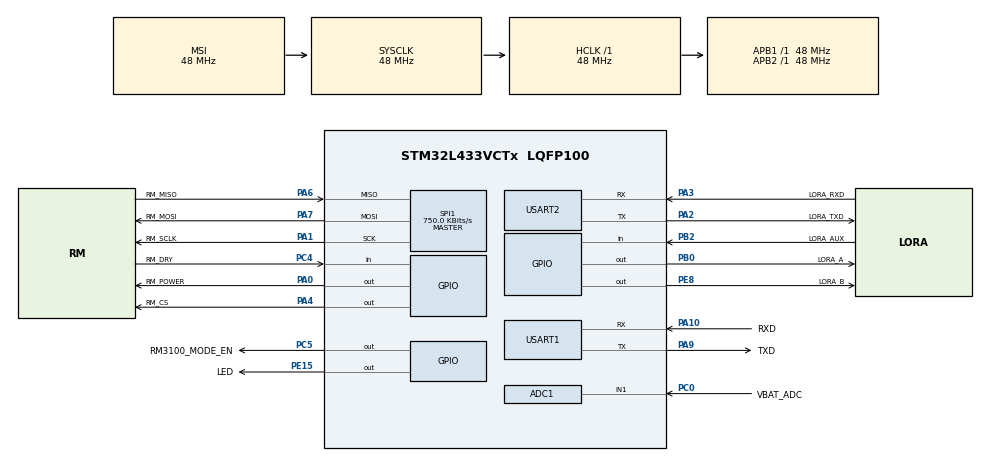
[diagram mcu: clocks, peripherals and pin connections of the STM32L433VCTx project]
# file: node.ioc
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ADC1.Channel-0\#ChannelRegularConversion=ADC_CHANNEL_1
ADC1.ClockPrescaler=ADC_CLOCK_ASYNC_DIV16
ADC1.NbrOfConversionFlag=1
ADC1.OffsetNumber-0\#ChannelRegularConversion=ADC_OFFSET_NONE
ADC1.Rank-0\#ChannelRegularConversion=1
ADC1.SamplingTime-0\#ChannelRegularConversion=ADC_SAMPLETIME_2CYCLES_5
ADC1.master=1
Dma.Request0=USART2_RX
Dma.Request1=USART1_RX
Dma.USART1_RX.1.Direction=DMA_PERIPH_TO_MEMORY
Dma.USART1_RX.1.Instance=DMA1_Channel5
Dma.USART1_RX.1.MemDataAlignment=DMA_MDATAALIGN_BYTE
Dma.USART1_RX.1.MemInc=DMA_MINC_ENABLE
Dma.USART1_RX.1.Mode=DMA_NORMAL
Dma.USART1_RX.1.PeriphDataAlignment=DMA_PDATAALIGN_BYTE
Dma.USART1_RX.1.PeriphInc=DMA_PINC_DISABLE
Dma.USART1_RX.1.Priority=DMA_PRIORITY_LOW
Dma.USART2_RX.0.Direction=DMA_PERIPH_TO_MEMORY
Dma.USART2_RX.0.Instance=DMA1_Channel6
Dma.USART2_RX.0.MemDataAlignment=DMA_MDATAALIGN_BYTE
Dma.USART2_RX.0.MemInc=DMA_MINC_ENABLE
Dma.USART2_RX.0.Mode=DMA_NORMAL
Dma.USART2_RX.0.PeriphDataAlignment=DMA_PDATAALIGN_BYTE
Dma.USART2_RX.0.PeriphInc=DMA_PINC_DISABLE
Dma.USART2_RX.0.Priority=DMA_PRIORITY_LOW
Mcu.Family=STM32L4
Mcu.Name=STM32L433VCTx
Mcu.Package=LQFP100
NVIC.DMA1_Channel5_IRQn=true\:0\:0\:false\:false\:true\:false\:true
NVIC.DMA1_Channel6_IRQn=true\:0\:0\:false\:false\:true\:false\:true
NVIC.PriorityGroup=NVIC_PRIORITYGROUP_4
NVIC.USART1_IRQn=true\:0\:0\:false\:false\:true\:true\:true
NVIC.USART2_IRQn=true\:0\:0\:false\:false\:true\:true\:true
PA0.GPIO_Label=RM_POWER
PA0.Signal=GPIO_Output
PA1.GPIO_Label=RM_SCLK
PA1.Mode=Full_Duplex_Master
PA1.Signal=SPI1_SCK
PA10.GPIO_Label=RXD
PA10.Mode=Asynchronous
PA10.Signal=USART1_RX
PA13\ (JTMS-SWDIO).Mode=Serial_Wire
PA13\ (JTMS-SWDIO).Signal=SYS_JTMS-SWDIO
PA14\ (JTCK-SWCLK).Mode=Serial_Wire
PA14\ (JTCK-SWCLK).Signal=SYS_JTCK-SWCLK
PA2.GPIO_Label=LORA_TXD
PA2.Mode=Asynchronous
PA2.Signal=USART2_TX
PA3.GPIO_Label=LORA_RXD
PA3.Mode=Asynchronous
PA3.Signal=USART2_RX
PA4.GPIO_Label=RM_CS
PA4.Signal=GPIO_Output
PA6.GPIO_Label=RM_MISO
PA6.Mode=Full_Duplex_Master
PA6.Signal=SPI1_MISO
PA7.GPIO_Label=RM_MOSI
PA7.Mode=Full_Duplex_Master
PA7.Signal=SPI1_MOSI
PA9.GPIO_Label=TXD
PA9.Mode=Asynchronous
PA9.Signal=USART1_TX
PB0.GPIO_Label=LORA_A
PB0.Signal=GPIO_Output
PB2.GPIO_Label=LORA_AUX
PB2.Signal=GPIO_Input
PC0.GPIO_Label=VBAT_ADC
PC0.Signal=ADCx_IN1
PC4.GPIO_Label=RM_DRY
PC4.Signal=GPIO_Input
PC5.GPIO_Label=RM3100_MODE_EN
PC5.Signal=GPIO_Output
PE15.GPIO_Label=LED
PE15.Signal=GPIO_Output
PE8.GPIO_Label=LORA_B
PE8.Signal=GPIO_Output
ProjectManager.HeapSize=0x200
ProjectManager.StackSize=0x400
ProjectManager.TargetToolchain=MDK-ARM V5
RCC.ADCFreq_Value=64000000
RCC.AHBFreq_Value=48000000
RCC.APB1Freq_Value=48000000
RCC.APB1TimFreq_Value=48000000
RCC.APB2Freq_Value=48000000
RCC.APB2TimFreq_Value=48000000
RCC.CortexFreq_Value=48000000
RCC.HCLKFreq_Value=48000000
RCC.HSE_VALUE=8000000
RCC.HSI48_VALUE=48000000
RCC.HSI_VALUE=16000000
RCC.LSE_VALUE=32768
RCC.MSIClockRange=RCC_MSIRANGE_11
RCC.MSI_VALUE=48000000
RCC.PLLM=3
RCC.SYSCLKFreq_VALUE=48000000
RCC.USBFreq_Value=64000000
RCC.VCOOutputFreq_Value=128000000
SH.ADCx_IN1.0=ADC1_IN1,IN1-Single-Ended
SPI1.BaudRatePrescaler=SPI_BAUDRATEPRESCALER_64
SPI1.CalculateBaudRate=750.0 KBits/s
SPI1.DataSize=SPI_DATASIZE_8BIT
SPI1.Direction=SPI_DIRECTION_2LINES
SPI1.Mode=SPI_MODE_MASTER
SPI1.VirtualType=VM_MASTER
USART1.VirtualMode-Asynchronous=VM_ASYNC
USART2.VirtualMode-Asynchronous=VM_ASYNC
board=custom

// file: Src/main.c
/* USER CODE BEGIN Header */
/**
  ******************************************************************************
  * @file           : main.c
  * @brief          : Main program body
  ******************************************************************************
  ** This notice applies to any and all portions of this file
  * that are not between comment pairs USER CODE BEGIN and
  * USER CODE END. Other portions of this file, whether
  * inserted by the user or by software development tools
  * are owned by their respective copyright owners.
  *
  * COPYRIGHT(c) 2019 STMicroelectronics
  *
  * Redistribution and use in source and binary forms, with or without modification,
  * are permitted provided that the following conditions are met:
  *   1. Redistributions of source code must retain the above copyright notice,
  *      this list of conditions and the following disclaimer.
  *   2. Redistributions in binary form must reproduce the above copyright notice,
  *      this list of conditions and the following disclaimer in the documentation
  *      and/or other materials provided with the distribution.
  *   3. Neither the name of STMicroelectronics nor the names of its contributors
  *      may be used to endorse or promote products derived from this software
  *      without specific prior written permission.
  *
  * THIS SOFTWARE IS PROVIDED BY THE COPYRIGHT HOLDERS AND CONTRIBUTORS "AS IS"
  * AND ANY EXPRESS OR IMPLIED WARRANTIES, INCLUDING, BUT NOT LIMITED TO, THE
  * IMPLIED WARRANTIES OF MERCHANTABILITY AND FITNESS FOR A PARTICULAR PURPOSE ARE
  * DISCLAIMED. IN NO EVENT SHALL THE COPYRIGHT HOLDER OR CONTRIBUTORS BE LIABLE
  * FOR ANY DIRECT, INDIRECT, INCIDENTAL, SPECIAL, EXEMPLARY, OR CONSEQUENTIAL
  * DAMAGES (INCLUDING, BUT NOT LIMITED TO, PROCUREMENT OF SUBSTITUTE GOODS OR
  * SERVICES; LOSS OF USE, DATA, OR PROFITS; OR BUSINESS INTERRUPTION) HOWEVER
  * CAUSED AND ON ANY THEORY OF LIABILITY, WHETHER IN CONTRACT, STRICT LIABILITY,
  * OR TORT (INCLUDING NEGLIGENCE OR OTHERWISE) ARISING IN ANY WAY OUT OF THE USE
  * OF THIS SOFTWARE, EVEN IF ADVISED OF THE POSSIBILITY OF SUCH DAMAGE.
  *
  ******************************************************************************
  */
/* USER CODE END Header */

#include "main.h"

/* USER CODE BEGIN Includes */
#include "bsp.h"
#include "sensor.h"
#include "mag3D3100.h"
#include "stdio.h"
/* USER CODE END Includes */

ADC_HandleTypeDef hadc1;

SPI_HandleTypeDef hspi1;

UART_HandleTypeDef huart1;
UART_HandleTypeDef huart2;
DMA_HandleTypeDef hdma_usart1_rx;
DMA_HandleTypeDef hdma_usart2_rx;

/* USER CODE BEGIN PV */
#pragma import(__use_no_semihosting)
void _sys_exit(int x)
{
x = x;
}
struct __FILE
{
int handle;
};
FILE __stdout;
UART_HandleTypeDef huart1;
int fputc(int ch, FILE *f)
{
				//发送数据到串口
	unsigned char tmp;
	tmp =(unsigned char )ch;
 HAL_UART_Transmit(&huart1, &tmp, 1, 1);
	return ch;
}
/* USER CODE END PV */

void SystemClock_Config(void);
static void MX_GPIO_Init(void);
static void MX_DMA_Init(void);
static void MX_SPI1_Init(void);
static void MX_USART2_UART_Init(void);
static void MX_USART1_UART_Init(void);
static void MX_ADC1_Init(void);

/* USER CODE BEGIN 0 */
MagData_t dataMd;
/* USER CODE END 0 */

int main(void)
{

  /* MCU Configuration--------------------------------------------------------*/

  /* Reset of all peripherals, Initializes the Flash interface and the Systick. */
  HAL_Init();

  /* Configure the system clock */
  SystemClock_Config();

  /* Initialize all configured peripherals */
	Hardware_Init();
  MX_GPIO_Init();
  MX_DMA_Init();
  MX_SPI1_Init();
  MX_USART2_UART_Init();
  MX_USART1_UART_Init();
  MX_ADC1_Init();
  /* USER CODE BEGIN 2 */
	// Hardware_Init();
		HAL_GPIO_WritePin(I2C_MODE_GPIO_Port, I2C_MODE_Pin, GPIO_PIN_RESET);
  ThreeD3100_magic_init();
 // ;
  /* USER CODE END 2 */

  /* Infinite loop */
  while (1)
  {

    /* USER CODE BEGIN 3 */
	led_ctrl(BLINK);
	HAL_Delay(1000);
	// sensor_process();

		ThreeD3100_magic_GetData(&dataMd);
  }
  /* USER CODE END 3 */
}

void SystemClock_Config(void)
{
  RCC_OscInitTypeDef RCC_OscInitStruct = {0};
  RCC_ClkInitTypeDef RCC_ClkInitStruct = {0};
  RCC_PeriphCLKInitTypeDef PeriphClkInit = {0};

  /** Initializes the CPU, AHB and APB busses clocks
  */
  RCC_OscInitStruct.OscillatorType = RCC_OSCILLATORTYPE_MSI;
  RCC_OscInitStruct.MSIState = RCC_MSI_ON;
  RCC_OscInitStruct.MSICalibrationValue = 0;
  RCC_OscInitStruct.MSIClockRange = RCC_MSIRANGE_11;
  RCC_OscInitStruct.PLL.PLLState = RCC_PLL_NONE;
  if (HAL_RCC_OscConfig(&RCC_OscInitStruct) != HAL_OK)
  {
    Error_Handler();
  }
  /** Initializes the CPU, AHB and APB busses clocks
  */
  RCC_ClkInitStruct.ClockType = RCC_CLOCKTYPE_HCLK|RCC_CLOCKTYPE_SYSCLK
                              |RCC_CLOCKTYPE_PCLK1|RCC_CLOCKTYPE_PCLK2;
  RCC_ClkInitStruct.SYSCLKSource = RCC_SYSCLKSOURCE_MSI;
  RCC_ClkInitStruct.AHBCLKDivider = RCC_SYSCLK_DIV1;
  RCC_ClkInitStruct.APB1CLKDivider = RCC_HCLK_DIV1;
  RCC_ClkInitStruct.APB2CLKDivider = RCC_HCLK_DIV1;

  if (HAL_RCC_ClockConfig(&RCC_ClkInitStruct, FLASH_LATENCY_2) != HAL_OK)
  {
    Error_Handler();
  }
  PeriphClkInit.PeriphClockSelection = RCC_PERIPHCLK_USART1|RCC_PERIPHCLK_USART2
                              |RCC_PERIPHCLK_ADC;
  PeriphClkInit.Usart1ClockSelection = RCC_USART1CLKSOURCE_PCLK2;
  PeriphClkInit.Usart2ClockSelection = RCC_USART2CLKSOURCE_PCLK1;
  PeriphClkInit.AdcClockSelection = RCC_ADCCLKSOURCE_PLLSAI1;
  PeriphClkInit.PLLSAI1.PLLSAI1Source = RCC_PLLSOURCE_MSI;
  PeriphClkInit.PLLSAI1.PLLSAI1M = 3;
  PeriphClkInit.PLLSAI1.PLLSAI1N = 8;
  PeriphClkInit.PLLSAI1.PLLSAI1P = RCC_PLLP_DIV7;
  PeriphClkInit.PLLSAI1.PLLSAI1Q = RCC_PLLQ_DIV2;
  PeriphClkInit.PLLSAI1.PLLSAI1R = RCC_PLLR_DIV2;
  PeriphClkInit.PLLSAI1.PLLSAI1ClockOut = RCC_PLLSAI1_ADC1CLK;
  if (HAL_RCCEx_PeriphCLKConfig(&PeriphClkInit) != HAL_OK)
  {
    Error_Handler();
  }
  /** Configure the main internal regulator output voltage
  */
  if (HAL_PWREx_ControlVoltageScaling(PWR_REGULATOR_VOLTAGE_SCALE1) != HAL_OK)
  {
    Error_Handler();
  }
}

static void MX_ADC1_Init(void)
{

  ADC_ChannelConfTypeDef sConfig = {0};

  /** Common config
  */
  hadc1.Instance = ADC1;
  hadc1.Init.ClockPrescaler = ADC_CLOCK_ASYNC_DIV16;
  hadc1.Init.Resolution = ADC_RESOLUTION_12B;
  hadc1.Init.DataAlign = ADC_DATAALIGN_RIGHT;
  hadc1.Init.ScanConvMode = ADC_SCAN_DISABLE;
  hadc1.Init.EOCSelection = ADC_EOC_SINGLE_CONV;
  hadc1.Init.LowPowerAutoWait = DISABLE;
  hadc1.Init.ContinuousConvMode = DISABLE;
  hadc1.Init.NbrOfConversion = 1;
  hadc1.Init.DiscontinuousConvMode = DISABLE;
  hadc1.Init.ExternalTrigConv = ADC_SOFTWARE_START;
  hadc1.Init.ExternalTrigConvEdge = ADC_EXTERNALTRIGCONVEDGE_NONE;
  hadc1.Init.DMAContinuousRequests = DISABLE;
  hadc1.Init.Overrun = ADC_OVR_DATA_PRESERVED;
  hadc1.Init.OversamplingMode = DISABLE;
  if (HAL_ADC_Init(&hadc1) != HAL_OK)
  {
    Error_Handler();
  }
  /** Configure Regular Channel
  */
  sConfig.Channel = ADC_CHANNEL_1;
  sConfig.Rank = ADC_REGULAR_RANK_1;
  sConfig.SamplingTime = ADC_SAMPLETIME_2CYCLES_5;
  sConfig.SingleDiff = ADC_SINGLE_ENDED;
  sConfig.OffsetNumber = ADC_OFFSET_NONE;
  sConfig.Offset = 0;
  if (HAL_ADC_ConfigChannel(&hadc1, &sConfig) != HAL_OK)
  {
    Error_Handler();
  }

}

static void MX_SPI1_Init(void)
{

  /* SPI1 parameter configuration*/
  hspi1.Instance = SPI1;
  hspi1.Init.Mode = SPI_MODE_MASTER;
  hspi1.Init.Direction = SPI_DIRECTION_2LINES;
  hspi1.Init.DataSize = SPI_DATASIZE_8BIT;
  hspi1.Init.CLKPolarity = SPI_POLARITY_HIGH;
  hspi1.Init.CLKPhase = SPI_PHASE_2EDGE;
  hspi1.Init.NSS = SPI_NSS_SOFT;
  hspi1.Init.BaudRatePrescaler = SPI_BAUDRATEPRESCALER_256;
  hspi1.Init.FirstBit = SPI_FIRSTBIT_MSB;
  hspi1.Init.TIMode = SPI_TIMODE_DISABLE;
  hspi1.Init.CRCCalculation = SPI_CRCCALCULATION_DISABLE;
  hspi1.Init.CRCPolynomial = 7;
  hspi1.Init.CRCLength = SPI_CRC_LENGTH_DATASIZE;
  hspi1.Init.NSSPMode = SPI_NSS_PULSE_ENABLE;
  if (HAL_SPI_Init(&hspi1) != HAL_OK)
  {
    Error_Handler();
  }

}

static void MX_USART1_UART_Init(void)
{

  huart1.Instance = USART1;
  huart1.Init.BaudRate = 115200;
  huart1.Init.WordLength = UART_WORDLENGTH_8B;
  huart1.Init.StopBits = UART_STOPBITS_1;
  huart1.Init.Parity = UART_PARITY_NONE;
  huart1.Init.Mode = UART_MODE_TX_RX;
  huart1.Init.HwFlowCtl = UART_HWCONTROL_NONE;
  huart1.Init.OverSampling = UART_OVERSAMPLING_16;
  huart1.Init.OneBitSampling = UART_ONE_BIT_SAMPLE_DISABLE;
  huart1.AdvancedInit.AdvFeatureInit = UART_ADVFEATURE_NO_INIT;
  if (HAL_UART_Init(&huart1) != HAL_OK)
  {
    Error_Handler();
  }

}

static void MX_USART2_UART_Init(void)
{

  huart2.Instance = USART2;
  huart2.Init.BaudRate = 115200;
  huart2.Init.WordLength = UART_WORDLENGTH_8B;
  huart2.Init.StopBits = UART_STOPBITS_1;
  huart2.Init.Parity = UART_PARITY_NONE;
  huart2.Init.Mode = UART_MODE_TX_RX;
  huart2.Init.HwFlowCtl = UART_HWCONTROL_NONE;
  huart2.Init.OverSampling = UART_OVERSAMPLING_16;
  huart2.Init.OneBitSampling = UART_ONE_BIT_SAMPLE_DISABLE;
  huart2.AdvancedInit.AdvFeatureInit = UART_ADVFEATURE_NO_INIT;
  if (HAL_UART_Init(&huart2) != HAL_OK)
  {
    Error_Handler();
  }

}

static void MX_DMA_Init(void)
{

  /* DMA controller clock enable */
  __HAL_RCC_DMA1_CLK_ENABLE();

  /* DMA interrupt init */
  /* DMA1_Channel5_IRQn interrupt configuration */
  HAL_NVIC_SetPriority(DMA1_Channel5_IRQn, 0, 0);
  HAL_NVIC_EnableIRQ(DMA1_Channel5_IRQn);
  /* DMA1_Channel6_IRQn interrupt configuration */
  HAL_NVIC_SetPriority(DMA1_Channel6_IRQn, 0, 0);
  HAL_NVIC_EnableIRQ(DMA1_Channel6_IRQn);

}

static void MX_GPIO_Init(void)
{
  GPIO_InitTypeDef GPIO_InitStruct = {0};

  /* GPIO Ports Clock Enable */
  __HAL_RCC_GPIOC_CLK_ENABLE();
  __HAL_RCC_GPIOA_CLK_ENABLE();
  __HAL_RCC_GPIOB_CLK_ENABLE();
  __HAL_RCC_GPIOE_CLK_ENABLE();

  /*Configure GPIO pin Output Level */
  HAL_GPIO_WritePin(GPIOA, RM_POWER_Pin|RM_CS_Pin, GPIO_PIN_RESET);

  /*Configure GPIO pin Output Level */
  HAL_GPIO_WritePin(RM3100_MODE_EN_GPIO_Port, RM3100_MODE_EN_Pin, GPIO_PIN_RESET);

  /*Configure GPIO pin Output Level */
  HAL_GPIO_WritePin(LORA_A_GPIO_Port, LORA_A_Pin, GPIO_PIN_RESET);

  /*Configure GPIO pin Output Level */
  HAL_GPIO_WritePin(GPIOE, LORA_B_Pin|LED_Pin, GPIO_PIN_RESET);

  /*Configure GPIO pins : RM_POWER_Pin RM_CS_Pin */
  GPIO_InitStruct.Pin = RM_POWER_Pin|RM_CS_Pin;
  GPIO_InitStruct.Mode = GPIO_MODE_OUTPUT_PP;
  GPIO_InitStruct.Pull = GPIO_NOPULL;
  GPIO_InitStruct.Speed = GPIO_SPEED_FREQ_LOW;
  HAL_GPIO_Init(GPIOA, &GPIO_InitStruct);

  /*Configure GPIO pin : RM_DRY_Pin */
  GPIO_InitStruct.Pin = RM_DRY_Pin;
  GPIO_InitStruct.Mode = GPIO_MODE_INPUT;
  GPIO_InitStruct.Pull = GPIO_PULLUP;
  HAL_GPIO_Init(RM_DRY_GPIO_Port, &GPIO_InitStruct);

  /*Configure GPIO pin : RM3100_MODE_EN_Pin */
  GPIO_InitStruct.Pin = RM3100_MODE_EN_Pin;
  GPIO_InitStruct.Mode = GPIO_MODE_OUTPUT_PP;
  GPIO_InitStruct.Pull = GPIO_NOPULL;
  GPIO_InitStruct.Speed = GPIO_SPEED_FREQ_LOW;
  HAL_GPIO_Init(RM3100_MODE_EN_GPIO_Port, &GPIO_InitStruct);

  /*Configure GPIO pin : LORA_A_Pin */
  GPIO_InitStruct.Pin = LORA_A_Pin;
  GPIO_InitStruct.Mode = GPIO_MODE_OUTPUT_PP;
  GPIO_InitStruct.Pull = GPIO_NOPULL;
  GPIO_InitStruct.Speed = GPIO_SPEED_FREQ_LOW;
  HAL_GPIO_Init(LORA_A_GPIO_Port, &GPIO_InitStruct);

  /*Configure GPIO pin : LORA_AUX_Pin */
  GPIO_InitStruct.Pin = LORA_AUX_Pin;
  GPIO_InitStruct.Mode = GPIO_MODE_INPUT;
  GPIO_InitStruct.Pull = GPIO_NOPULL;
  HAL_GPIO_Init(LORA_AUX_GPIO_Port, &GPIO_InitStruct);

  /*Configure GPIO pins : LORA_B_Pin LED_Pin */
  GPIO_InitStruct.Pin = LORA_B_Pin|LED_Pin;
  GPIO_InitStruct.Mode = GPIO_MODE_OUTPUT_PP;
  GPIO_InitStruct.Pull = GPIO_NOPULL;
  GPIO_InitStruct.Speed = GPIO_SPEED_FREQ_LOW;
  HAL_GPIO_Init(GPIOE, &GPIO_InitStruct);

}

void Error_Handler(void)
{
}

/************************ (C) COPYRIGHT STMicroelectronics *****END OF FILE****/
